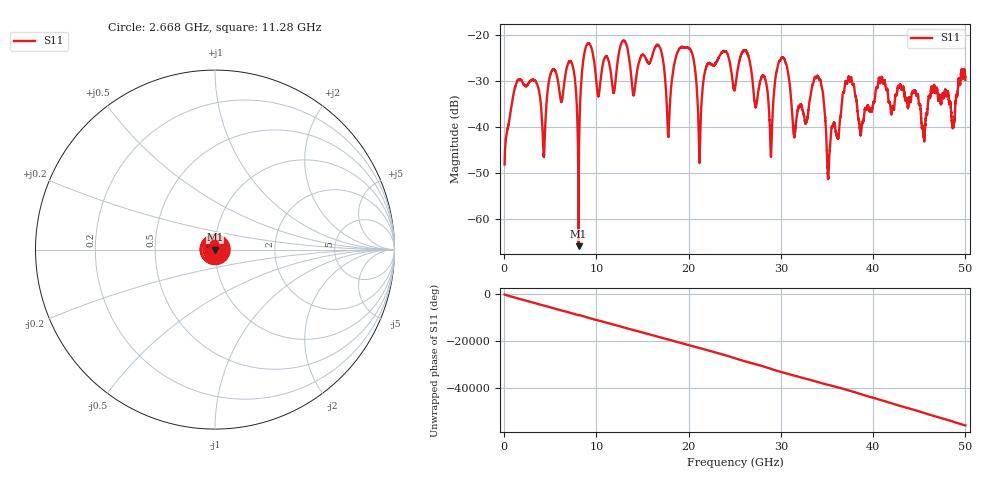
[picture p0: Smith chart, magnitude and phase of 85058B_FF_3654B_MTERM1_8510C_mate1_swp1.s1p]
!Created with skrf (http://scikit-rf.org).
# Hz S RI R 50.0
!freq ReS11 ImS11
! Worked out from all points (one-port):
!   10001 points, 45 MHz to 50 GHz, reference 50 ohm
!   lowest |S11| = -66.0 dB at 8.058 GHz (marker M1), VSWR 1.00, Z = 50 + j0.0316 ohm
!   |S11| at or under -10 dB: start of sweep to end of sweep
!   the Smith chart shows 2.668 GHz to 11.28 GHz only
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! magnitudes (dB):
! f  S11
! 45 MHz  -48.2
! 1.539 GHz  -29.7
! 4.276 GHz  -46.1
! 5.15 GHz  -27.8
! 6.289 GHz  -34.1
! 7.298 GHz  -26.0
! 8.058 GHz  -66.0
! 8.967 GHz  -22.1
! 10.21 GHz  -33.4
! 12.53 GHz  -22.9
! 14.05 GHz  -33.1
! 16.77 GHz  -22.3
! 17.8 GHz  -41.8
! 18.78 GHz  -23.8
! 20.35 GHz  -23.9
! 21.18 GHz  -47.3
! 22.1 GHz  -26.3
! 25.02 GHz  -31.7
! 26.23 GHz  -23.5
! 28.92 GHz  -46.5
! 30.24 GHz  -25.0
! 31.27 GHz  -38.4
! 34.08 GHz  -29.3
! 35.17 GHz  -50.0
! 37.51 GHz  -29.9
! 38.67 GHz  -41.3
! 43.76 GHz  -35.6
! 50 GHz  -29.8
